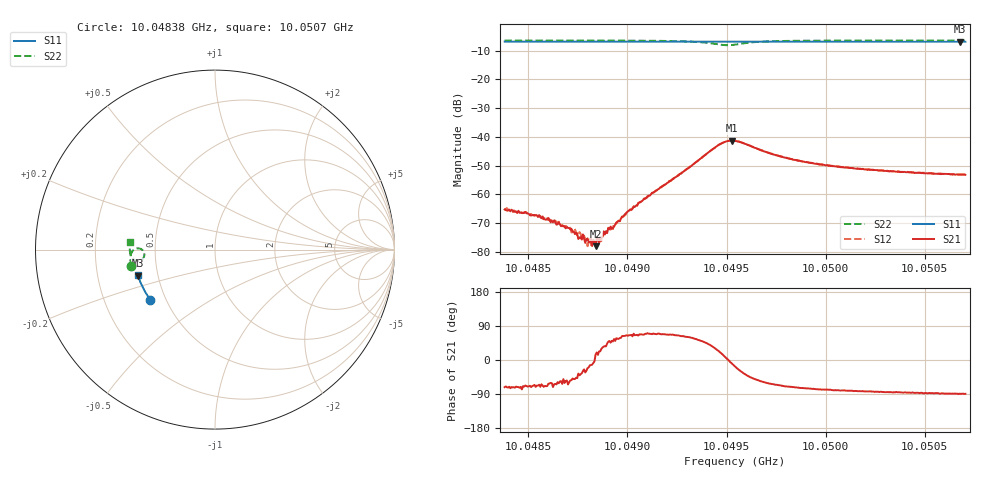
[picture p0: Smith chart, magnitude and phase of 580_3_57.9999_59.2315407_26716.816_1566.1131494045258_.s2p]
#  HZ  S  RI  R  50.00
! Rohde & Schwarz Vector Network Analyzer
! Rohde-Schwarz,ZNB20-2Port,1311601062101988,3.16
! Created: UTC 3/21/2024, 1:16:17 AM
! freq[Hz]  re:S11  im:S11  re:S21  im:S21  re:S12  im:S12  re:S22  im:S22
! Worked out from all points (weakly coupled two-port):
!   401 points, 10.04838 GHz to 10.0507 GHz, reference 50 ohm
!   highest |S21| = -41.29 dB at 10.04953 GHz (marker M1); lowest = -78.0 dB at 10.04884 GHz (marker M2)
!   lowest |S11| = -6.9 dB at 10.05068 GHz (marker M3), VSWR 2.65, Z = 19.3 - j7 ohm
!   |S11| at or under -10 dB: nowhere
!   |S22| runs from -8.1 to -6.4 dB; largest |S21 - S12| = 0.00061
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1.004838e10  -0.3617 -0.2783  0.000172 -0.000518  0.000229 -0.000511  -0.4678 -0.0937
1.0048491e10  -0.3658 -0.2723  0.000169 -0.000437  0.000192 -0.000446  -0.469 -0.0858
1.0048607e10  -0.3702 -0.2659  0.000166 -0.000314  0.00017 -0.000323  -0.47 -0.0771
1.0048653e10  -0.3718 -0.2634  0.000155 -0.000284  0.000167 -0.00029  -0.4704 -0.0737
1.0048706e10  -0.3738 -0.2605  0.000135 -0.000222  0.000169 -0.000192  -0.4708 -0.0695
1.004877e10  -0.3761 -0.2571  0.000134 -9.38e-05  0.000143 -9.42e-05  -0.4712 -0.0645
1.0048804e10  -0.3774 -0.2551  0.000139 -4.84e-05  0.000142 -5.37e-05  -0.4713 -0.0617
1.0048828e10  -0.3783 -0.2537  0.000148 -2.12e-05  0.000161 2.8e-05  -0.4713 -0.0598
1.0048839e10  -0.3786 -0.253  0.000122 3.19e-05  0.000143 3.44e-05  -0.4715 -0.0588
1.0048863e10  -0.3794 -0.2519  0.000166 7.04e-05  0.000131 7.61e-05  -0.4715 -0.0569
1.0048892e10  -0.3804 -0.2502  0.000185 0.000134  0.000169 0.000141  -0.4716 -0.0543
1.0048932e10  -0.3818 -0.2478  0.000157 0.000226  0.000183 0.00026  -0.4716 -0.0508
1.0049002e10  -0.3841 -0.2439  0.000222 0.000454  0.000185 0.00046  -0.4714 -0.0442
1.0049159e10  -0.3894 -0.235  0.000437 0.00117  0.000387 0.0012  -0.4685 -0.0273
1.0049455e10  -0.3982 -0.2175  0.00639 0.00303  0.00617 0.00343  -0.4098 0.00165
1.0049525e10  -0.3997 -0.2139  0.00853 -0.00129  0.00863 -0.000726  -0.3951 -0.0386
1.0049543e10  -0.4002 -0.213  0.00815 -0.00251  0.00835 -0.00196  -0.4003 -0.0488
1.0049746e10  -0.4067 -0.2013  0.00203 -0.00439  0.00233 -0.00429  -0.4625 -0.0454
1.0049932e10  -0.4117 -0.1901  0.000831 -0.0034  0.00103 -0.00337  -0.4723 -0.0219
1.0050321e10  -0.4213 -0.1663  0.000228 -0.0025  0.000375 -0.00252  -0.4754 0.0128
1.0050676e10  -0.4287 -0.1444  4.82e-05 -0.0022  0.000167 -0.00222  -0.4742 0.0391
1.0050705e10  -0.4293 -0.1426  2.69e-05 -0.00219  0.000172 -0.00221  -0.4741 0.0413
